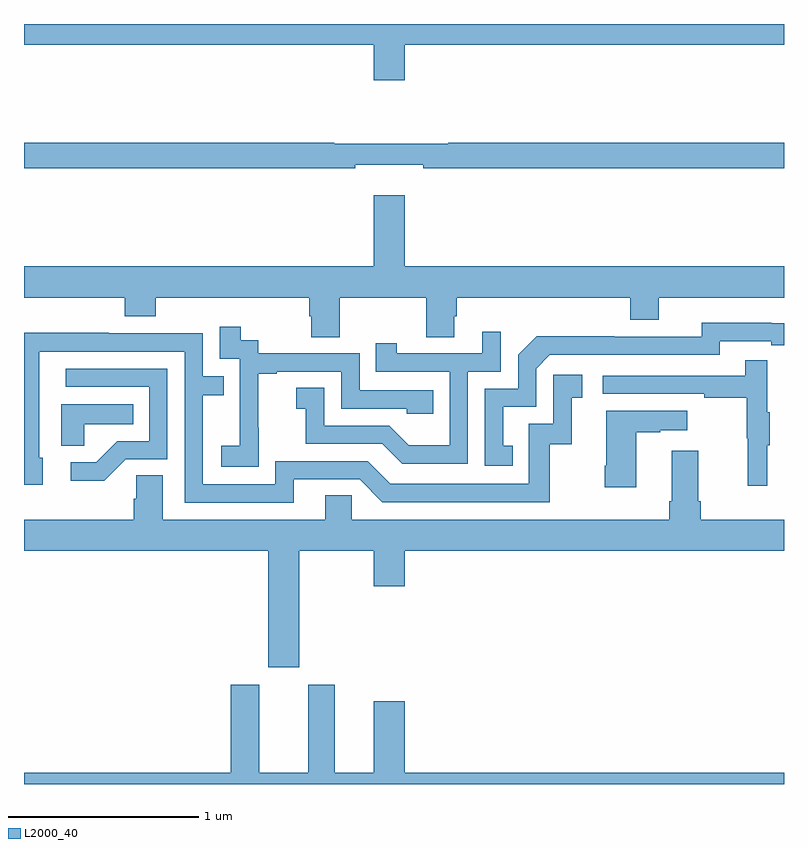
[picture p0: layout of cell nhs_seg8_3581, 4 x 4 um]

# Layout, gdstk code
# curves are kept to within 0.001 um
import gdstk
lib = gdstk.Library(unit=1e-6, precision=1e-09)
def P(c, l, *ps):  # polygons
    for p in ps: c.add(gdstk.Polygon(p, *l))
L2000_40 = (2000, 40)

nhs_seg8_3581 = lib.new_cell('nhs_seg8_3581')
P(nhs_seg8_3581, L2000_40, [(331,1157.792),(332.84,1157.792),(332.84,1157.604),(333.004,1157.604),(333.004,1157.792),(335,1157.792),(335,1157.9),(331,1157.9)],
  [(332.744,1157.159),(333.1,1157.159),(333.1,1157.14),(335,1157.14),(335,1157.276),(333.233,1157.276),(333.233,1157.269),(332.633,1157.269),(332.633,1157.276),(331,1157.276),(331,1157.14),(332.744,1157.14)],
  [(331,1156.46),(331.529,1156.46),(331.529,1156.361),(331.694,1156.361),(331.694,1156.46),(332.501,1156.46),(332.501,1156.362),(332.513,1156.362),(332.513,1156.252),(332.661,1156.252),(332.661,1156.46),(333.118,1156.46),(333.118,1156.252),(333.265,1156.252),(333.265,1156.362),(333.278,1156.362),(333.278,1156.46),(334.19,1156.46),(334.19,1156.343),(334.342,1156.343),(334.342,1156.46),(335,1156.46),(335,1156.624),(333.004,1156.624),(333.004,1156.999),(332.84,1156.999),(332.84,1156.624),(331,1156.624)],
  [(333.572,1155.681),(333.523,1155.681),(333.523,1155.885),(333.696,1155.885),(333.696,1156.086),(333.768,1156.158),(334.662,1156.158),(334.662,1156.23),(334.934,1156.23),(334.934,1156.21),(335,1156.21),(335,1156.326),(334.566,1156.327),(334.566,1156.254),(334.106,1156.254),(334.106,1156.256),(333.698,1156.256),(333.6,1156.158),(333.6,1155.981),(333.426,1155.981),(333.426,1155.576),(333.572,1155.576)],
  [(332.235,1155.775),(332.234,1155.775),(332.234,1156.059),(332.329,1156.059),(332.329,1156.071),(332.67,1156.071),(332.67,1155.876),(333.015,1155.876),(333.015,1155.849),(333.155,1155.849),(333.155,1155.972),(332.766,1155.972),(332.766,1156.167),(332.232,1156.167),(332.232,1156.236),(332.14,1156.236),(332.14,1156.306),(332.031,1156.306),(332.031,1156.137),(332.136,1156.137),(332.136,1155.908),(332.135,1155.908),(332.135,1155.679),(332.037,1155.679),(332.037,1155.569),(332.235,1155.569)],
  [(333.336,1156.071),(333.51,1156.071),(333.51,1156.279),(333.413,1156.279),(333.413,1156.167),(332.962,1156.167),(332.962,1156.219),(332.851,1156.219),(332.851,1156.071),(333.24,1156.071),(333.24,1155.682),(333.026,1155.682),(332.922,1155.786),(332.58,1155.786),(332.58,1155.985),(332.433,1155.985),(332.433,1155.875),(332.482,1155.875),(332.482,1155.69),(332.885,1155.69),(332.99,1155.585),(333.336,1155.585)],
  [(332.419,1155.504),(332.766,1155.504),(332.886,1155.384),(333.766,1155.384),(333.766,1155.687),(333.884,1155.687),(333.884,1155.933),(333.937,1155.933),(333.937,1156.054),(333.786,1156.054),(333.786,1155.795),(333.657,1155.795),(333.657,1155.48),(332.928,1155.48),(332.808,1155.6),(332.322,1155.6),(332.322,1155.477),(331.941,1155.477),(331.941,1155.946),(332.051,1155.946),(332.051,1156.047),(331.941,1156.047),(331.941,1156.272),(331.445,1156.272),(331.445,1156.274),(331,1156.274),(331,1155.474),(331.099,1155.474),(331.099,1155.618),(331.08,1155.618),(331.08,1156.176),(331.845,1156.176),(331.845,1155.381),(332.419,1155.381)],
  [(334.913,1155.683),(334.924,1155.683),(334.924,1155.857),(334.913,1155.857),(334.913,1156.129),(334.795,1156.129),(334.795,1156.05),(334.047,1156.05),(334.047,1155.954),(334.579,1155.954),(334.579,1155.934),(334.803,1155.934),(334.803,1155.72),(334.81,1155.72),(334.81,1155.471),(334.913,1155.471)],
  [(331.536,1155.609),(331.755,1155.609),(331.755,1156.086),(331.221,1156.086),(331.221,1155.99),(331.659,1155.99),(331.659,1155.705),(331.49,1155.705),(331.379,1155.594),(331.245,1155.594),(331.245,1155.497),(331.423,1155.497)],
  [(331.317,1155.794),(331.574,1155.794),(331.574,1155.898),(331.196,1155.898),(331.196,1155.679),(331.317,1155.679)],
  [(334.222,1155.751),(334.349,1155.751),(334.349,1155.761),(334.492,1155.761),(334.492,1155.865),(334.064,1155.865),(334.064,1155.574),(334.057,1155.574),(334.057,1155.462),(334.222,1155.462)],
  [(332.449,1155.128),(332.84,1155.128),(332.84,1154.94),(333.004,1154.94),(333.004,1155.128),(335,1155.128),(335,1155.292),(334.562,1155.292),(334.562,1155.388),(334.549,1155.388),(334.549,1155.655),(334.409,1155.655),(334.409,1155.388),(334.397,1155.388),(334.397,1155.292),(332.724,1155.292),(332.724,1155.419),(332.585,1155.419),(332.585,1155.292),(331.729,1155.292),(331.729,1155.524),(331.59,1155.524),(331.59,1155.401),(331.577,1155.401),(331.577,1155.292),(331,1155.292),(331,1155.128),(332.285,1155.128),(332.285,1154.514),(332.449,1154.514)],
  [(335,1153.96),(333.004,1153.96),(333.004,1154.335),(332.84,1154.335),(332.84,1153.96),(332.635,1153.96),(332.635,1154.422),(332.495,1154.422),(332.495,1153.96),(332.239,1153.96),(332.239,1154.422),(332.087,1154.422),(332.087,1153.96),(331,1153.96),(331,1153.9),(335,1153.9)])

lib.write_gds('nhs_seg8_3581.gds')
